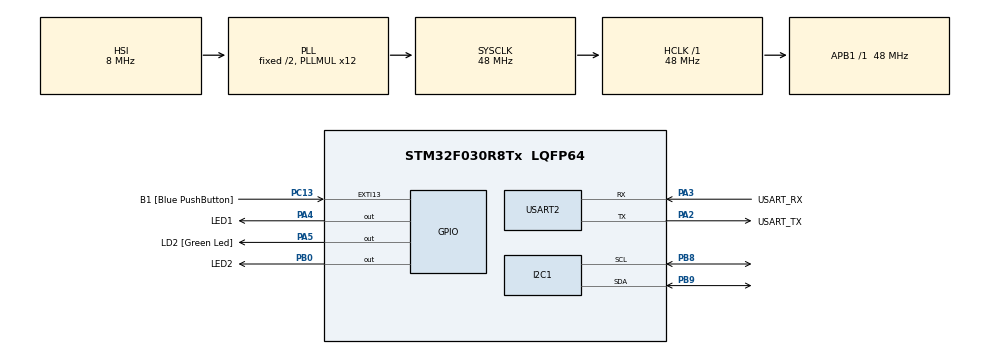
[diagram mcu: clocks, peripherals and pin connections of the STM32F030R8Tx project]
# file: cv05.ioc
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Dma.Request0=USART2_RX
Dma.USART2_RX.0.Direction=DMA_PERIPH_TO_MEMORY
Dma.USART2_RX.0.Instance=DMA1_Channel5
Dma.USART2_RX.0.MemDataAlignment=DMA_MDATAALIGN_BYTE
Dma.USART2_RX.0.MemInc=DMA_MINC_ENABLE
Dma.USART2_RX.0.Mode=DMA_CIRCULAR
Dma.USART2_RX.0.PeriphDataAlignment=DMA_PDATAALIGN_BYTE
Dma.USART2_RX.0.PeriphInc=DMA_PINC_DISABLE
Dma.USART2_RX.0.Priority=DMA_PRIORITY_LOW
I2C1.Timing=0x00201D2B
Mcu.Family=STM32F0
Mcu.Name=STM32F030R8Tx
Mcu.Package=LQFP64
NVIC.DMA1_Channel4_5_IRQn=true\:0\:0\:false\:false\:true\:false\:true\:true
PA13.GPIO_Label=TMS
PA13.Mode=Serial_Wire
PA13.Signal=SYS_SWDIO
PA14.GPIO_Label=TCK
PA14.Mode=Serial_Wire
PA14.Signal=SYS_SWCLK
PA2.GPIO_Label=USART_TX
PA2.GPIO_Mode=GPIO_MODE_AF_PP
PA2.GPIO_PuPd=GPIO_NOPULL
PA2.GPIO_Speed=GPIO_SPEED_FREQ_LOW
PA2.Mode=Asynchronous
PA2.Signal=USART2_TX
PA3.GPIO_Label=USART_RX
PA3.GPIO_Mode=GPIO_MODE_AF_PP
PA3.GPIO_PuPd=GPIO_NOPULL
PA3.GPIO_Speed=GPIO_SPEED_FREQ_LOW
PA3.Mode=Asynchronous
PA3.Signal=USART2_RX
PA4.GPIO_Label=LED1
PA4.Signal=GPIO_Output
PA5.GPIO_Label=LD2 [Green Led]
PA5.GPIO_Mode=GPIO_MODE_OUTPUT_PP
PA5.GPIO_PuPd=GPIO_NOPULL
PA5.GPIO_Speed=GPIO_SPEED_FREQ_LOW
PA5.Signal=GPIO_Output
PB0.GPIO_Label=LED2
PB0.Signal=GPIO_Output
PB8.Mode=I2C
PB8.Signal=I2C1_SCL
PB9.Mode=I2C
PB9.Signal=I2C1_SDA
PC13.GPIO_Label=B1 [Blue PushButton]
PC13.GPIO_ModeDefaultEXTI=GPIO_MODE_IT_FALLING
PC13.Signal=GPXTI13
PC14-OSC32_IN.Mode=LSE-External-Oscillator
PC14-OSC32_IN.Signal=RCC_OSC32_IN
PC15-OSC32_OUT.Mode=LSE-External-Oscillator
PC15-OSC32_OUT.Signal=RCC_OSC32_OUT
PF0-OSC_IN.Mode=HSE-External-Clock-Source
PF0-OSC_IN.Signal=RCC_OSC_IN
PF1-OSC_OUT.Signal=RCC_OSC_OUT
ProjectManager.HeapSize=0x200
ProjectManager.StackSize=0x400
ProjectManager.TargetToolchain=STM32CubeIDE
RCC.AHBFreq_Value=48000000
RCC.APB1Freq_Value=48000000
RCC.APB1TimFreq_Value=48000000
RCC.HCLKFreq_Value=48000000
RCC.PLLMUL=RCC_PLL_MUL12
RCC.SYSCLKFreq_VALUE=48000000
RCC.SYSCLKSource=RCC_SYSCLKSOURCE_PLLCLK
USART2.VirtualMode-Asynchronous=VM_ASYNC
board=NUCLEO-F030R8

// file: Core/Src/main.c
/* USER CODE BEGIN Header */
/**
  ******************************************************************************
  * @file           : main.c
  * @brief          : Main program body
  ******************************************************************************
  * @attention
  *
  * Copyright (c) 2025 STMicroelectronics.
  * All rights reserved.
  *
  * This software is licensed under terms that can be found in the LICENSE file
  * in the root directory of this software component.
  * If no LICENSE file comes with this software, it is provided AS-IS.
  *
  ******************************************************************************
  */
/* USER CODE END Header */
#include "main.h"

/* USER CODE BEGIN Includes */
#include <string.h>
#include <stdio.h>
#include <stdlib.h>
/* USER CODE END Includes */

/* USER CODE BEGIN PD */

#define RX_BUFFER_LEN 64
static uint8_t uart_rx_buf[RX_BUFFER_LEN];
static volatile uint16_t uart_rx_read_ptr = 0;
#define uart_rx_write_ptr (RX_BUFFER_LEN - hdma_usart2_rx.Instance->CNDTR)

#define CMD_BUFFER_LEN  256

#define EEPROM_ADDR 0xA0

/* USER CODE END PD */

I2C_HandleTypeDef hi2c1;

UART_HandleTypeDef huart2;
DMA_HandleTypeDef hdma_usart2_rx;

void SystemClock_Config(void);
static void MX_GPIO_Init(void);
static void MX_DMA_Init(void);
static void MX_USART2_UART_Init(void);
static void MX_I2C1_Init(void);
/* USER CODE BEGIN PFP */

static void uart_byte_available(uint8_t c);
static void uart_process_command(char *cmd);
int _write(int file, char const *buf, int n);

/* USER CODE END PFP */

int main(void)
{

  /* MCU Configuration--------------------------------------------------------*/

  /* Reset of all peripherals, Initializes the Flash interface and the Systick. */
  HAL_Init();

  /* Configure the system clock */
  SystemClock_Config();

  /* Initialize all configured peripherals */
  MX_GPIO_Init();
  MX_DMA_Init();
  MX_USART2_UART_Init();
  MX_I2C1_Init();
  /* USER CODE BEGIN 2 */

  HAL_UART_Receive_DMA(&huart2, uart_rx_buf, RX_BUFFER_LEN);

  /* USER CODE END 2 */

  /* Infinite loop */
  /* USER CODE BEGIN WHILE */
  while (1)
  {

	  while (uart_rx_read_ptr != uart_rx_write_ptr) {
		  uint8_t b = uart_rx_buf[uart_rx_read_ptr];
		  // increase read pointer
		  if (++uart_rx_read_ptr >= RX_BUFFER_LEN) uart_rx_read_ptr = 0;
		  // process every received byte with the RX state machine
		  uart_byte_available(b);
	  }

    /* USER CODE END WHILE */

  }
}

void SystemClock_Config(void)
{
  RCC_OscInitTypeDef RCC_OscInitStruct = {0};
  RCC_ClkInitTypeDef RCC_ClkInitStruct = {0};
  RCC_PeriphCLKInitTypeDef PeriphClkInit = {0};

  /** Initializes the RCC Oscillators according to the specified parameters
  * in the RCC_OscInitTypeDef structure.
  */
  RCC_OscInitStruct.OscillatorType = RCC_OSCILLATORTYPE_HSI;
  RCC_OscInitStruct.HSIState = RCC_HSI_ON;
  RCC_OscInitStruct.HSICalibrationValue = RCC_HSICALIBRATION_DEFAULT;
  RCC_OscInitStruct.PLL.PLLState = RCC_PLL_ON;
  RCC_OscInitStruct.PLL.PLLSource = RCC_PLLSOURCE_HSI;
  RCC_OscInitStruct.PLL.PLLMUL = RCC_PLL_MUL12;
  RCC_OscInitStruct.PLL.PREDIV = RCC_PREDIV_DIV1;
  if (HAL_RCC_OscConfig(&RCC_OscInitStruct) != HAL_OK)
  {
    Error_Handler();
  }

  /** Initializes the CPU, AHB and APB buses clocks
  */
  RCC_ClkInitStruct.ClockType = RCC_CLOCKTYPE_HCLK|RCC_CLOCKTYPE_SYSCLK
                              |RCC_CLOCKTYPE_PCLK1;
  RCC_ClkInitStruct.SYSCLKSource = RCC_SYSCLKSOURCE_PLLCLK;
  RCC_ClkInitStruct.AHBCLKDivider = RCC_SYSCLK_DIV1;
  RCC_ClkInitStruct.APB1CLKDivider = RCC_HCLK_DIV1;

  if (HAL_RCC_ClockConfig(&RCC_ClkInitStruct, FLASH_LATENCY_1) != HAL_OK)
  {
    Error_Handler();
  }
  PeriphClkInit.PeriphClockSelection = RCC_PERIPHCLK_I2C1;
  PeriphClkInit.I2c1ClockSelection = RCC_I2C1CLKSOURCE_HSI;
  if (HAL_RCCEx_PeriphCLKConfig(&PeriphClkInit) != HAL_OK)
  {
    Error_Handler();
  }
}

static void MX_I2C1_Init(void)
{

  hi2c1.Instance = I2C1;
  hi2c1.Init.Timing = 0x00201D2B;
  hi2c1.Init.OwnAddress1 = 0;
  hi2c1.Init.AddressingMode = I2C_ADDRESSINGMODE_7BIT;
  hi2c1.Init.DualAddressMode = I2C_DUALADDRESS_DISABLE;
  hi2c1.Init.OwnAddress2 = 0;
  hi2c1.Init.OwnAddress2Masks = I2C_OA2_NOMASK;
  hi2c1.Init.GeneralCallMode = I2C_GENERALCALL_DISABLE;
  hi2c1.Init.NoStretchMode = I2C_NOSTRETCH_DISABLE;
  if (HAL_I2C_Init(&hi2c1) != HAL_OK)
  {
    Error_Handler();
  }

  /** Configure Analogue filter
  */
  if (HAL_I2CEx_ConfigAnalogFilter(&hi2c1, I2C_ANALOGFILTER_ENABLE) != HAL_OK)
  {
    Error_Handler();
  }

  /** Configure Digital filter
  */
  if (HAL_I2CEx_ConfigDigitalFilter(&hi2c1, 0) != HAL_OK)
  {
    Error_Handler();
  }

}

static void MX_USART2_UART_Init(void)
{

  huart2.Instance = USART2;
  huart2.Init.BaudRate = 38400;
  huart2.Init.WordLength = UART_WORDLENGTH_8B;
  huart2.Init.StopBits = UART_STOPBITS_1;
  huart2.Init.Parity = UART_PARITY_NONE;
  huart2.Init.Mode = UART_MODE_TX_RX;
  huart2.Init.HwFlowCtl = UART_HWCONTROL_NONE;
  huart2.Init.OverSampling = UART_OVERSAMPLING_16;
  huart2.Init.OneBitSampling = UART_ONE_BIT_SAMPLE_DISABLE;
  huart2.AdvancedInit.AdvFeatureInit = UART_ADVFEATURE_NO_INIT;
  if (HAL_UART_Init(&huart2) != HAL_OK)
  {
    Error_Handler();
  }

}

static void MX_DMA_Init(void)
{

  /* DMA controller clock enable */
  __HAL_RCC_DMA1_CLK_ENABLE();

  /* DMA interrupt init */
  /* DMA1_Channel4_5_IRQn interrupt configuration */
  HAL_NVIC_SetPriority(DMA1_Channel4_5_IRQn, 0, 0);
  HAL_NVIC_EnableIRQ(DMA1_Channel4_5_IRQn);

}

static void MX_GPIO_Init(void)
{
  GPIO_InitTypeDef GPIO_InitStruct = {0};

  /* GPIO Ports Clock Enable */
  __HAL_RCC_GPIOC_CLK_ENABLE();
  __HAL_RCC_GPIOF_CLK_ENABLE();
  __HAL_RCC_GPIOA_CLK_ENABLE();
  __HAL_RCC_GPIOB_CLK_ENABLE();

  /*Configure GPIO pin Output Level */
  HAL_GPIO_WritePin(GPIOA, LED1_Pin|LD2_Pin, GPIO_PIN_RESET);

  /*Configure GPIO pin Output Level */
  HAL_GPIO_WritePin(LED2_GPIO_Port, LED2_Pin, GPIO_PIN_RESET);

  /*Configure GPIO pin : B1_Pin */
  GPIO_InitStruct.Pin = B1_Pin;
  GPIO_InitStruct.Mode = GPIO_MODE_IT_FALLING;
  GPIO_InitStruct.Pull = GPIO_NOPULL;
  HAL_GPIO_Init(B1_GPIO_Port, &GPIO_InitStruct);

  /*Configure GPIO pins : LED1_Pin LD2_Pin */
  GPIO_InitStruct.Pin = LED1_Pin|LD2_Pin;
  GPIO_InitStruct.Mode = GPIO_MODE_OUTPUT_PP;
  GPIO_InitStruct.Pull = GPIO_NOPULL;
  GPIO_InitStruct.Speed = GPIO_SPEED_FREQ_LOW;
  HAL_GPIO_Init(GPIOA, &GPIO_InitStruct);

  /*Configure GPIO pin : LED2_Pin */
  GPIO_InitStruct.Pin = LED2_Pin;
  GPIO_InitStruct.Mode = GPIO_MODE_OUTPUT_PP;
  GPIO_InitStruct.Pull = GPIO_NOPULL;
  GPIO_InitStruct.Speed = GPIO_SPEED_FREQ_LOW;
  HAL_GPIO_Init(LED2_GPIO_Port, &GPIO_InitStruct);

}

/* USER CODE BEGIN 4 */

static void uart_byte_available(uint8_t c)
{
	static uint16_t cnt;
	static char data[CMD_BUFFER_LEN];
	if (cnt < CMD_BUFFER_LEN && c >= 32 && c <= 126) data[cnt++] = c;
	if ((c == '\n' || c == '\r') && cnt > 0) {
		data[cnt] = '\0';
		uart_process_command(data);
		cnt = 0;
	}
}

static void uart_process_command(char *cmd)
{
	char *token;
	token = strtok(cmd, " ");

	// test communication
	if (strcasecmp(token, "HELLO") == 0) {
		printf("Communication OK\n");
	}

	// handling of LED1
	else if (strcasecmp(token, "LED1") == 0) {
		token = strtok(NULL, " ");
		if (strcasecmp(token, "ON") == 0) {
			HAL_GPIO_WritePin(LED1_GPIO_Port, LED1_Pin, GPIO_PIN_SET);
		}
		else if (strcasecmp(token, "OFF") == 0) {
			HAL_GPIO_WritePin(LED1_GPIO_Port, LED1_Pin, GPIO_PIN_RESET);
		}
		printf("OK\n");
	}

	// handling of LED2
	else if (strcasecmp(token, "LED2") == 0) {
		token = strtok(NULL, " ");
		if (strcasecmp(token, "ON") == 0) {
			HAL_GPIO_WritePin(LED2_GPIO_Port, LED2_Pin, GPIO_PIN_SET);
		}
		else if (strcasecmp(token, "OFF") == 0) {
			HAL_GPIO_WritePin(LED2_GPIO_Port, LED2_Pin, GPIO_PIN_RESET);
		}
		printf("OK\n");
	}

	// write status of LEDs
	else if (strcasecmp(token, "STATUS") == 0) {
		printf("LED1=%s LED2=%s\n",
		HAL_GPIO_ReadPin(LED1_GPIO_Port, LED1_Pin) ? "ON" : "OFF",
		HAL_GPIO_ReadPin(LED2_GPIO_Port, LED2_Pin) ? "ON" : "OFF");
	}

	// read from eeprom
	else if (strcasecmp(token, "READ") == 0) {
	    token = strtok(NULL, " ");
	    uint16_t addr = atoi(token);
	    uint8_t value;

	    HAL_I2C_Mem_Read(&hi2c1, EEPROM_ADDR, addr, I2C_MEMADD_SIZE_16BIT, &value, 1, 1000);
	    printf("Address 0x%04X = 0x%02X\n", addr, value);
	}

	// write to eeprom
	else if (strcasecmp(token, "WRITE") == 0) {
	    token = strtok(NULL, " ");
	    uint16_t addr = atoi(token);
	    token = strtok(NULL, " ");
	    uint8_t value = atoi(token);

	    HAL_I2C_Mem_Write(&hi2c1, EEPROM_ADDR, addr, I2C_MEMADD_SIZE_16BIT, &value, 1, 1000);
	    while (HAL_I2C_IsDeviceReady(&hi2c1, EEPROM_ADDR, 300, 1000) != HAL_OK) {}
	    printf("OK\n");
	}

	// dump eeprom
	else if (strcasecmp(token, "DUMP") == 0) {
	    uint8_t data[16];
	    // read 16 bites
	    HAL_I2C_Mem_Read(&hi2c1, EEPROM_ADDR, 0x0000, I2C_MEMADD_SIZE_16BIT, data, 16, 1000);
	    // in loop display
	    for (uint8_t i = 0; i < 16; i++) {
	        printf("%02X ", data[i]);
	        if (i == 7) printf("\n");
	    }
	    printf("\n");
	}

}

int _write(int file, char const *buf, int n)
{
	/* stdout redirection to UART2 */
	HAL_UART_Transmit(&huart2, (uint8_t*)(buf), n, HAL_MAX_DELAY);
	return n;

}
/* USER CODE END 4 */

void Error_Handler(void)
{
  __disable_irq();
  while (1)
  {
  }
}
